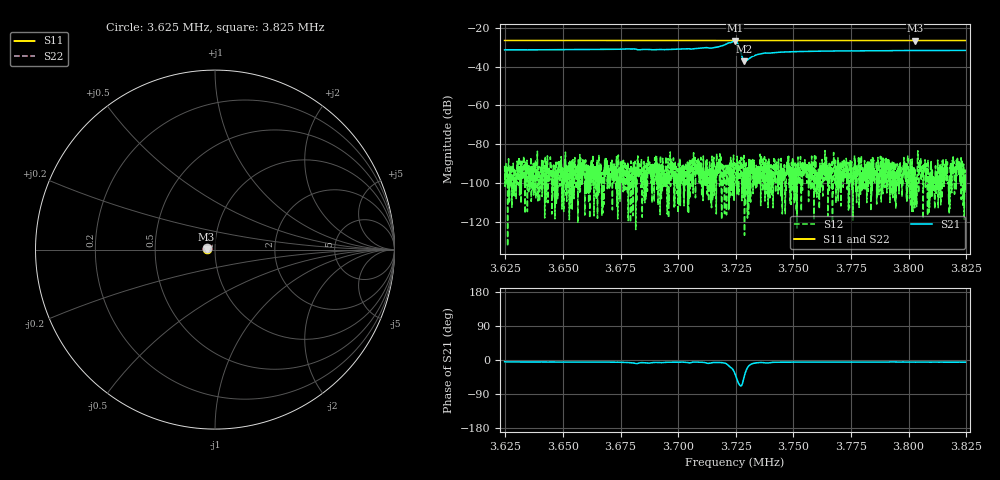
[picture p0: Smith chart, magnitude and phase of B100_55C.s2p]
# Hz S dB R 50.000
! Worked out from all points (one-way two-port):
!   6401 points, 3.625 MHz to 3.825 MHz, reference 50 ohm
!   highest |S21| = -26.68 dB at 3.725 MHz (marker M1); lowest = -37.3 dB at 3.729 MHz (marker M2)
!   lowest |S11| = -26.6 dB at 3.803 MHz (marker M3), VSWR 1.10, Z = 45.5 + j0.235 ohm
!   |S11| at or under -10 dB: start of sweep to end of sweep
!   |S22| runs from -26.6 to -26.5 dB; largest |S21 - S12| = 0.046
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3624688  -26.50 175.3  -31.40 -4.3  -91.23 -34.9  -26.49 170.0
3658032  -26.51 175.6  -31.23 -5.5  -99.23 149.3  -26.50 170.3
3678032  -26.51 175.8  -30.87 -6.7  -105.60 163.7  -26.51 170.5
3683126  -26.52 175.8  -31.31 -7.7  -93.11 51.4  -26.51 170.6
3691376  -26.52 175.9  -31.16 -6.5  -97.85 12.8  -26.52 170.7
3714626  -26.52 176.1  -30.39 -7.1  -91.29 -32.4  -26.53 170.8
3718469  -26.53 176.1  -29.51 -6.8  -87.71 -1.9  -26.53 170.8
3721594  -26.52 176.2  -27.84 -13.2  -93.26 -46.8  -26.53 170.9
3724688  -26.53 176.2  -26.68 -36.3  -90.53 15.7  -26.53 170.9
3725313  -26.52 176.2  -27.05 -47.4  -94.32 171.1  -26.53 170.9
3725969  -26.53 176.2  -28.38 -58.3  -90.44 4.0  -26.53 170.9
3726532  -26.53 176.2  -29.98 -64.7  -92.99 56.0  -26.53 170.9
3727938  -26.52 176.2  -35.63 -61.5  -97.72 -55.7  -26.53 170.9
3728750  -26.53 176.2  -37.33 -42.1  -106.12 -105.6  -26.53 170.9
3729626  -26.53 176.2  -37.00 -26.1  -94.98 98.0  -26.54 170.9
3731750  -26.52 176.2  -35.06 -10.8  -90.91 -59.5  -26.53 170.9
3733250  -26.52 176.2  -34.25 -8.3  -94.63 -25.9  -26.53 171.0
3737094  -26.53 176.3  -33.07 -7.0  -90.89 4.2  -26.54 171.0
3758032  -26.53 176.4  -32.09 -5.5  -92.42 118.3  -26.54 171.2
3791376  -26.54 176.7  -31.81 -5.4  -96.42 50.2  -26.56 171.5
3802813  -26.56 176.9  -31.70 -5.6  -92.54 10.8  -26.57 171.5
3824688  -26.56 177.0  -31.64 -5.7  -93.58 49.2  -26.58 171.8
